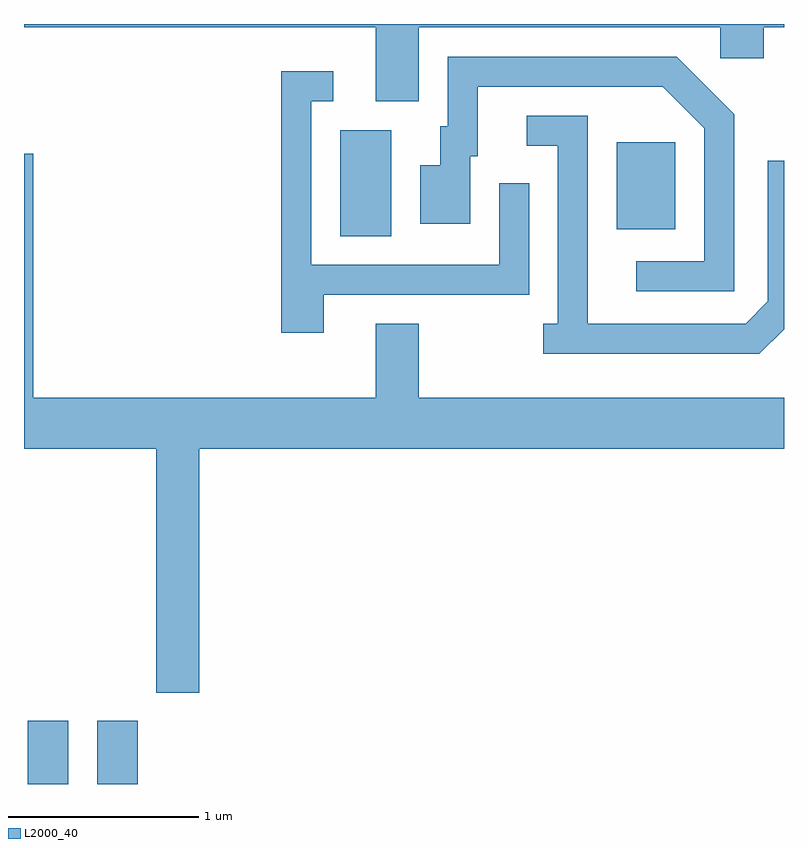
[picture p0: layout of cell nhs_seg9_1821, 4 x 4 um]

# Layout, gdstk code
import gdstk
lib = gdstk.Library(unit=1e-6, precision=1e-09)
def R(c, l, rs):  # rectangles x0, y0, x1, y1
    for r in rs: c.add(gdstk.rectangle(r[:2], r[2:], *l))
def P(c, l, *ps):  # polygons
    for p in ps: c.add(gdstk.Polygon(p, *l))
L2000_40 = (2000, 40)

nhs_seg9_1821 = lib.new_cell('nhs_seg9_1821')
R(nhs_seg9_1821, L2000_40, [(237.631,2054.432,237.844,2054.764), (237.996,2054.432,238.209,2054.764), (239.276,2057.316,239.544,2057.874), (240.731,2057.351,241.039,2057.809)])
P(nhs_seg9_1821, L2000_40, [(239.689,2058.416),(241.276,2058.416),(241.276,2058.251),(241.504,2058.251),(241.504,2058.416),(241.611,2058.416),(241.611,2058.432),(237.611,2058.432),(237.611,2058.416),(239.461,2058.416),(239.461,2058.026),(239.689,2058.026)],
  [(241.349,2057.957),(241.047,2058.259),(239.841,2058.259),(239.841,2057.894),(239.801,2057.894),(239.801,2057.689),(239.696,2057.689),(239.696,2057.381),(239.959,2057.381),(239.959,2057.736),(239.999,2057.736),(239.999,2058.101),(240.974,2058.101),(241.191,2057.884),(241.191,2057.184),(240.833,2057.184),(240.833,2057.026),(241.349,2057.026)],
  [(239.189,2057.006),(240.269,2057.006),(240.269,2057.593),(240.111,2057.593),(240.111,2057.164),(239.124,2057.164),(239.124,2058.026),(239.238,2058.026),(239.238,2058.184),(238.966,2058.184),(238.966,2056.806),(239.189,2056.806)],
  [(241.611,2056.826),(241.611,2057.713),(241.526,2057.713),(241.526,2056.972),(241.409,2056.854),(240.579,2056.854),(240.579,2057.949),(240.258,2057.949),(240.258,2057.791),(240.421,2057.791),(240.421,2056.854),(240.343,2056.854),(240.343,2056.696),(241.482,2056.696)],
  [(238.534,2056.196),(241.611,2056.196),(241.611,2056.464),(239.689,2056.464),(239.689,2056.854),(239.461,2056.854),(239.461,2056.464),(237.659,2056.464),(237.659,2057.749),(237.611,2057.749),(237.611,2056.196),(238.306,2056.196),(238.306,2054.911),(238.534,2054.911)])

lib.write_gds('nhs_seg9_1821.gds')
